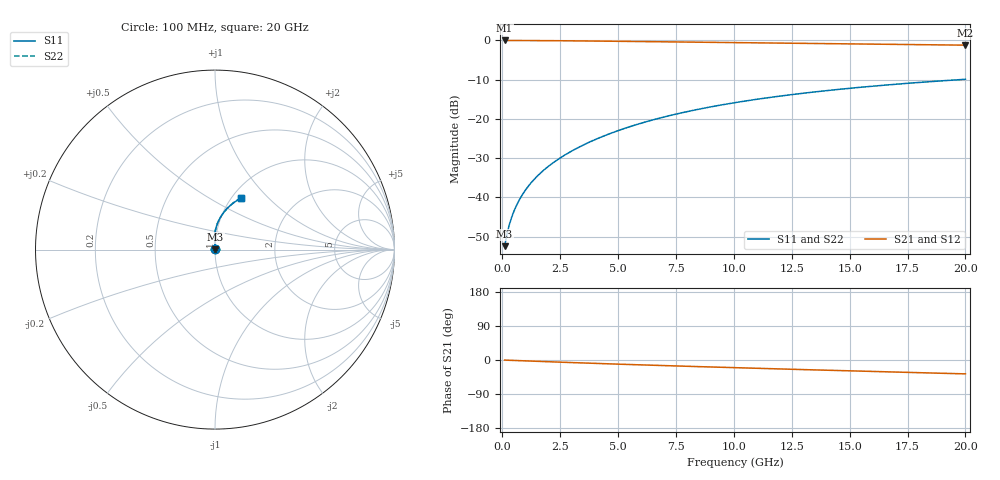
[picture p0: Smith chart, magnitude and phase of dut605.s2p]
! Touchstone file exported from HFSS 2024.1.0
!  File:  C:/UserFiles/LocalFiles/RDL_TSV_Batchsim/temp_RDL_top_605_1779779561.aedt
!  Generated:  03:15:09 PM May 26, 2026
!  Design:  RDL_top
!  Project:  temp_RDL_top_605_1779779561
!  Setup:  Setup1
!  Solution:  Sweep
! Variables:
!  dtsv = 10.80580581um
!  hbump = 3um
!  htsv = 51.09um
!  ldown = 100um
!  lrdl = 524.78um
!  p = 40
!  p1 = 57.8um
!  rhole = 1um
!  t = 450um
!  tdown = 3.915915916um
!  trdl = 3.74um
!  wdown = 15.38538539um
!  wrdl = 29.52um
# GHz S MA R 50.000000
! Terminal data exported
! Port[1] = Box2_T1
! Port[2] = Box2_T2
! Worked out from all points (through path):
!   200 points, 100 MHz to 20 GHz, reference 50 ohm
!   highest |S21| = -0.02 dB at 100 MHz (marker M1); lowest = -1.2 dB at 20 GHz (marker M2)
!   group delay of S21, straight-line fit = 4.99 ps
!   lowest |S11| = -52.5 dB at 100 MHz (marker M3), VSWR 1.00, Z = 50.2 + j0.14 ohm
!   |S11| at or under -10 dB: start of sweep to 19.77 GHz
!   |S22| runs from -52.5 to -9.9 dB; largest |S21 - S12| = 2.6e-15
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0.1  0.002383 35.9  0.998 -0.2  0.998 -0.2  0.002383 35.9
! Gamma 0 0 0 0
! Port Impedance 50 0 50 0
0.2  0.003382 52.4  0.9979 -0.5  0.9979 -0.5  0.003382 52.4
0.3  0.004441 60.9  0.9977 -0.7  0.9977 -0.7  0.004441 60.9
0.4  0.005515 66.5  0.9975 -1.0  0.9975 -1.0  0.005515 66.5
0.5  0.006609 70.5  0.9973 -1.2  0.9973 -1.2  0.006608 70.5
0.6  0.007723 73.6  0.9971 -1.4  0.9971 -1.4  0.007723 73.6
0.8  0.01001 78.0  0.9967 -1.9  0.9967 -1.9  0.01001 78.0
1.1  0.01356 82.2  0.996 -2.6  0.996 -2.6  0.01356 82.2
1.3  0.016 84.2  0.9954 -3.0  0.9954 -3.0  0.016 84.2
1.6  0.01975 86.4  0.9944 -3.7  0.9944 -3.7  0.01975 86.4
2.1  0.02627 88.8  0.9922 -4.8  0.9922 -4.8  0.02627 88.8
2.7  0.03457 90.6  0.9891 -6.2  0.9891 -6.2  0.03457 90.6
3.5  0.04643 91.8  0.9842 -7.9  0.9842 -7.9  0.04643 91.8
4.2  0.05748 92.0  0.9795 -9.3  0.9795 -9.3  0.05749 92.0
5  0.07076 91.6  0.9737 -11.0  0.9737 -11.0  0.07077 91.7
5.9  0.08633 90.7  0.967 -12.7  0.967 -12.7  0.08634 90.7
6.8  0.1023 89.3  0.9603 -14.4  0.9603 -14.4  0.1023 89.3
8.4  0.1312 86.3  0.9486 -17.4  0.9486 -17.4  0.1312 86.4
10.1  0.1618 82.8  0.9365 -20.4  0.9365 -20.4  0.1618 82.9
13.4  0.2189 76.0  0.9138 -26.0  0.9138 -26.0  0.219 76.0
16.7  0.2717 69.5  0.8915 -31.4  0.8915 -31.4  0.2718 69.5
20  0.3194 63.4  0.8693 -36.6  0.8693 -36.6  0.3195 63.5
